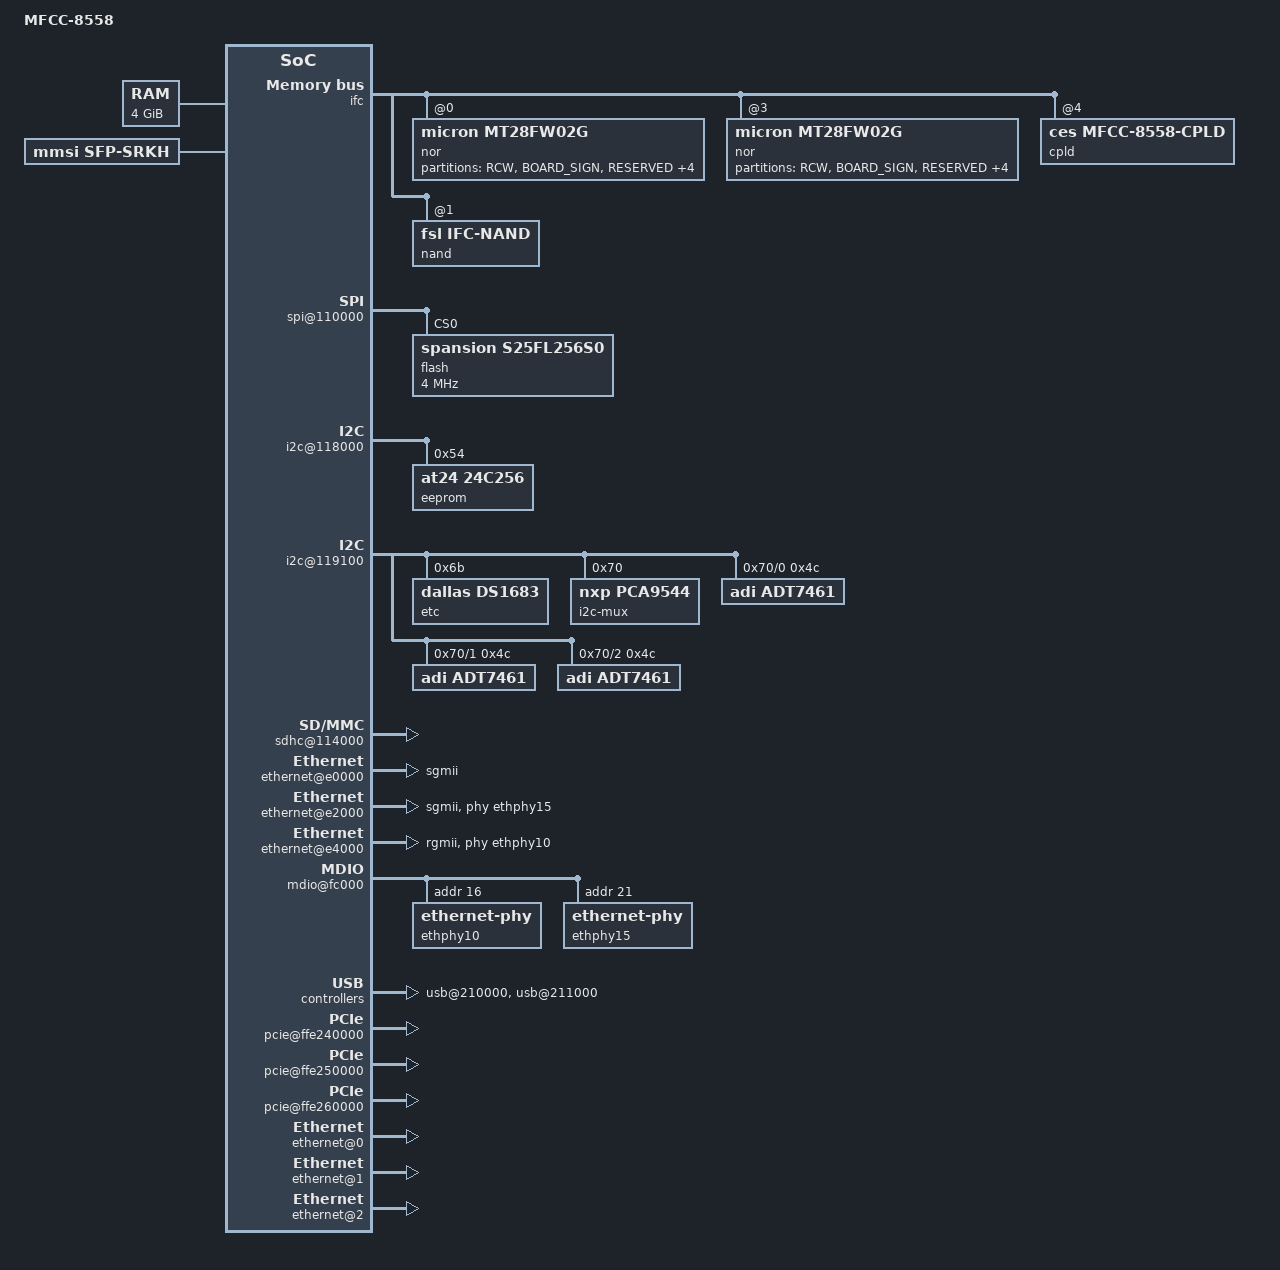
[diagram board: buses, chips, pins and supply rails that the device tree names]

/include/ "t208xsi-pre.dtsi"
/include/ "mfcc-855x-pre.dtsi"

/{
	model = "MFCC-8558";
	compatible = "mfcc_8558", "mmsi,MFCC-8558";
	#address-cells = <2>;
	#size-cells = <2>;
	interrupt-parent = <&mpic>;

	chosen {
		bootargs = "console=ttyS0,115200";

		/* FIXME - do we need this? */
		/* reserve 256MB for rootfs */
		linux,initrd-start = <0x6c000000>;
		linux,initrd-end =   <0x7bffffff>;
	};

	/* 4GB */
	memory {
		device_type = "memory";
		reg = <0x0 0x0 0x1 0x00000000>;
	};
};

&ifc {
	/*        CS#   child          size */
	ranges = <
		/* NOR 256 MB */
		0 0 2 0xf0000000 0x10000000
		/* nand 4 GB */
		1 0 2 0x60000000 0x10000
		/* NOR 256 MB */
		3 0 2 0xb0000000 0x10000000
		/* BMC FPGA */
		4 0 2 0x70000000 0x100000>;

	/* IFC chip select configuration
	 *     CS# CSPR       CSOR       CSOR_EXT   AMASK
	 *         FTIM0      FTIM1      FTIM2      FTIM3
	 */
	config = <
		/* second NOR */
		3  0x0101     0x0000000c 0x00000000 0xf0000000
		   0x20020002 0x1A000A0A 0x02083810 0x00000000

		/* NAND */
		1  0x0083     0x9518c200 0x000001c0 0xffff0000
		   0x0e10070a 0x1c3d0d10 0x01a05025 0x1f000000
	>;

	/* 256 MB NOR flash, booting flash */
	nor@0,0 {
		compatible = "micron,mt28fw02g", "cfi-flash";
		bank-width = <2>;
		reg = <0 0 0x10000000>;
		#address-cells = <1>;
		#size-cells = <1>;
		multi-die-count = <2>;

		partition@0 {
			reg = <0 0x100000>;
			label = "RCW";
		};
		partition@100000 {
			reg = <0x100000 0x80000>;
			label = "BOARD_SIGN";

			/*
			 * The format of this is:
			 *  signature: 16 bytes ("CES")
			 *  module_type - 128 bytes
			 *  serial - 128 bytes
			 *  mac addresses - 3 addresses, in a hex
			 *     string format, with 4 bytes of padding.
			 *     total of 16 bytes for each address.
			 */
			macaddr: macaddr@110 {
				 #mtd-mac-address-cells = <1>;
				 mac-addr-string = <1>;
			};
		};
		partition@180000 {
			reg = <0x180000 0x200000>;
			label = "RESERVED";
		};
		partition@380000 {
			reg = <0x380000 0x40000>;
			label = "IMGT";
		};
		partition@3c0000 {
			reg = <0x3c0000 0x40000>;
			label = "VPKT";
		};
		partition@400000 {
			reg = <0x400000 0xfb00000>;
			label = "USER";
		};
		partition@ff00000 {
			reg = <0xff00000 0x100000>;
			label = "BL";
		};
	};

	/* 256 MB second NOR flash */
	nor@3,0 {
		compatible = "micron,mt28fw02g", "cfi-flash";
		bank-width = <2>;
		reg = <3 0 0x10000000>;
		#address-cells = <1>;
		#size-cells = <1>;
		multi-die-count = <2>;

		partition@0 {
			reg = <0 0x100000>;
			label = "RCW";
		};
		partition@100000 {
			reg = <0x100000 0x80000>;
			label = "BOARD_SIGN";
		};
		partition@180000 {
			reg = <0x180000 0x200000>;
			label = "RESERVED";
		};
		partition@380000 {
			reg = <0x380000 0x40000>;
			label = "IMGT";
		};
		partition@3c0000 {
			reg = <0x3c0000 0x40000>;
			label = "VPKT";
		};
		partition@400000 {
			reg = <0x400000 0xfb00000>;
			label = "USER";
		};
		partition@ff00000 {
			reg = <0xff00000 0x100000>;
			label = "BL";
		};
	};

	cpld@4,0 {
		compatible = "ces,mfcc-8558-cpld";
		reg = <4 0 0x100000>;
		status = "okay";
	};

	nand@1,0 {
		#address-cells = <1>;
		#size-cells = <1>;
		compatible = "fsl,ifc-nand";
		reg = <0x1 0x0 0x10000>;
	};
};

&soc {

	sfp-srkh {
		compatible = "mmsi,sfp-srkh";
	};

	spi@110000 {
		flash@0 {
			reg = <0>;
			compatible = "spansion,s25fl256s0", "jedec,spi-nor";
			spi-max-frequency = <4000000>;
			#address-cells = <1>;
			#size-cells = <1>;

		};
	};

	i2c@118000 {
		eeprom@54 {
			compatible = "at24,24c256";
			reg = <0x54>;
		};
	};

	i2c@119100 {
		etc@6b {
			compatible = "dallas,ds1683";
			reg = <0x6b>;
		};

		i2c-mux@70 {
			compatible = "nxp,pca9544";
			#address-cells = <1>;
			#size-cells = <0>;
			reg = <0x70>;

			i2c@0 {
				#address-cells = <1>;
				#size-cells = <0>;
				reg = <0>;

				adt7461@4c {
					compatible = "adi,adt7461";
					reg = <0x4c>;
				};
			};

			i2c@1 {
				#address-cells = <1>;
				#size-cells = <0>;
				reg = <1>;

				adt7461@4c {
					compatible = "adi,adt7461";
					reg = <0x4c>;
				};
			};

			i2c@2 {
				#address-cells = <1>;
				#size-cells = <0>;
				reg = <2>;

				adt7461@4c {
					compatible = "adi,adt7461";
					reg = <0x4c>;
				};
			};
		};
	};

	sdhc@114000 {
		clock-frequency = <300000000>;
		status = "okay";
	};

	fman@400000 {
		clock-frequency = <700000000>;
		fman-firmware {
			compatible = "fsl,fman-firmware";
			fsl,firmware = <
				/include/ "fman_fw.hex"
			>;
		};
	};
	usb@210000 {
		status = "okay";
	};
	usb@211000 {
		status = "okay";
	};
	qman@318000 {
		clock-frequency = <300000000>;
	};
	bman@31a000 {
		clock-frequency = <300000000>;
	};

	pcie@ffe240000 {
		status = "okay";
	};

	pcie@ffe250000 {
		status = "okay";
	};

	pcie@ffe260000 {
		status = "okay";
	};
};

/include/ "t2080si-post.dtsi"
/include/ "mfcc-855x-post.dtsi"

&cpu0 {
	clock-frequency = <1800000000>;
	timebase-frequency = <37500000>;
};
     
&cpu1 {
	clock-frequency = <1800000000>;
	timebase-frequency = <37500000>;
};
     
&cpu2 {
	clock-frequency = <1800000000>;
	timebase-frequency = <37500000>;
};
     
&cpu3 {
	clock-frequency = <1800000000>;
	timebase-frequency = <37500000>;
};
     
&serial0 {
	clock-frequency = <300000000>;
};

&serial1 {
	clock-frequency = <300000000>;
};

&serial2 {
	clock-frequency = <300000000>;
};

&serial3 {
	clock-frequency = <300000000>;
};

&soc {
	fman@400000 {
		ethernet@e0000 {
			fixed-link = <1 1 1000 0 0>;
			phy-connection-type = "sgmii";
			mtd-mac-address = <&macaddr 0x130>;
			status = "okay";
		};
		ethernet@e2000 {
			phy-handle = <&ethphy15>;
			phy-connection-type = "sgmii";
			mtd-mac-address = <&macaddr 0x120>;
			status = "okay";
		};
		ethernet@e4000 {
			phy-handle = <&ethphy10>;
			phy-connection-type = "rgmii";
			mtd-mac-address = <&macaddr 0x110>;
			status = "okay";
		};
		ethernet@e6000 {
			status = "disabled";
		};
		ethernet@e8000 {
			status = "disabled";
		};
		ethernet@ea000 {
			status = "disabled";
		};
		ethernet@f0000 {
			status = "disabled";
		};
		ethernet@f2000 {
			status = "disabled";
		};
		mdio@fc000 {
			status = "okay";
			ethphy10: ethernet-phy@10 {
				reg = <16>;
			};
			ethphy15: ethernet-phy@15 {
				reg = <21>;
			};
		};
	};
	fsl,dpaa {
		compatible = "fsl,t2080-dpaa", "fsl,dpaa";
		ethernet@0 {
			compatible = "fsl,dpa-ethernet";
			fsl,fman-mac = <&enet0>;
			status = "okay";
		};
		ethernet@1 {
			compatible = "fsl,dpa-ethernet";
			fsl,fman-mac = <&enet1>;
			status = "okay";
		};
		ethernet@2 {
			compatible = "fsl,dpa-ethernet";
			fsl,fman-mac = <&enet2>;
			status = "okay";
		};
	};
};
